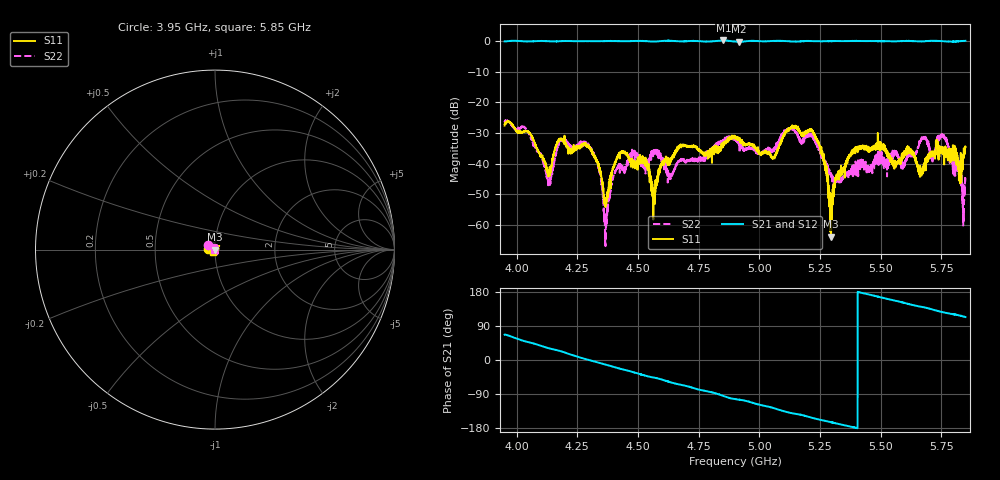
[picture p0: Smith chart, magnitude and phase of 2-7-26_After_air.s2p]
# GHZ S RI R 50.000000000000
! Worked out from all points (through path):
!   4501 points, 3.95 GHz to 5.85 GHz, reference 50 ohm
!   highest |S21| = 0.12 dB at 4.852 GHz (marker M1); lowest = -0.3 dB at 4.917 GHz (marker M2)
!   group delay of S21, straight-line fit = 453 ps
!   lowest |S11| = -63.8 dB at 5.296 GHz (marker M3), VSWR 1.00, Z = 50 - j0.0634 ohm
!   |S11| at or under -10 dB: start of sweep to end of sweep
!   |S22| runs from -66.9 to -25.8 dB; largest |S21 - S12| = 0.052
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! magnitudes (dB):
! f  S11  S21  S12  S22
! 3.95 GHz  -27.6  -0.2  -0.2  -26.6
! 4.041 GHz  -29.4  -0.2  -0.1  -29.0
! 4.132 GHz  -43.7  -0.1  -0.1  -46.3
! 4.181 GHz  -32.1  -0.1  -0.1  -32.7
! 4.267 GHz  -34.7  -0.1  -0.1  -33.5
! 4.331 GHz  -39.3  -0.1  -0.1  -39.5
! 4.368 GHz  -51.9  -0.1  -0.1  -60.1
! 4.432 GHz  -36.2  -0.1  -0.1  -40.9
! 4.564 GHz  -49.1  -0.2  -0.3  -35.7
! 4.584 GHz  -43.2  -0.2  -0.2  -36.0
! 4.635 GHz  -39.3  0.0  0.0  -44.6
! 4.852 GHz  -33.1  0.1  0.1  -32.2
! 4.9 GHz  -31.1  -0.2  -0.2  -31.9
! 4.917 GHz  -32.3  -0.3  -0.3  -33.5
! 5.057 GHz  -37.9  0.0  -0.1  -35.3
! 5.217 GHz  -29.1  -0.1  -0.1  -31.1
! 5.296 GHz  -63.8  -0.1  -0.1  -43.5
! 5.391 GHz  -36.1  -0.1  0.0  -43.2
! 5.534 GHz  -36.7  -0.1  -0.1  -38.5
! 5.755 GHz  -35.6  -0.1  -0.1  -30.6
! 5.829 GHz  -45.5  -0.1  -0.1  -42.3
! 5.85 GHz  -34.6  0.0  0.0  -44.6
